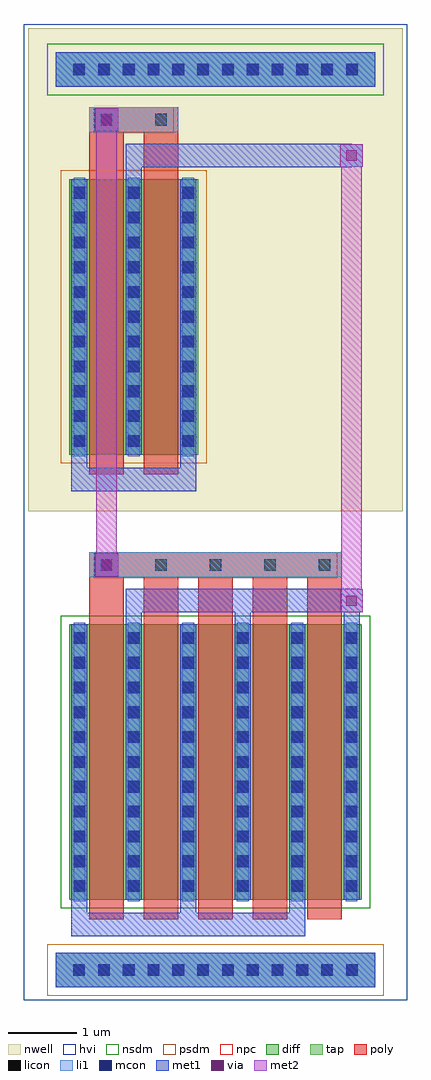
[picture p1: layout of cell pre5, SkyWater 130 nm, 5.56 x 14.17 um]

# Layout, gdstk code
import gdstk
lib = gdstk.Library(unit=1e-6, precision=1e-09)
def R(c, l, rs):  # rectangles x0, y0, x1, y1
    for r in rs: c.add(gdstk.rectangle(r[:2], r[2:], *l))
def A(c, l, x, y, w, h, nx, ny, dx, dy):  # array of equal rectangles
    R(c, l, [(x+i*dx, y+j*dy, x+i*dx+w, y+j*dy+h) for i in range(nx) for j in range(ny)])
def P(c, l, *ps):  # polygons
    for p in ps: c.add(gdstk.Polygon(p, *l))
nwell = (64, 20)
diff = (65, 20)
tap = (65, 44)
poly = (66, 20)
licon = (66, 44)
li1 = (67, 20)
mcon = (67, 44)
met1 = (68, 20)
via = (68, 44)
met2 = (69, 20)
hvi = (75, 20)
nsdm = (93, 44)
psdm = (94, 20)
npc = (95, 20)

pre5 = lib.new_cell('pre5')
R(pre5, nwell, [(-0.4,6.91,5.04,13.92)])
R(pre5, diff, [(0.2,1.27,4.44,5.27), (0.2,7.73,2.07,11.73)])
R(pre5, tap, [(0,0,4.64,0.5), (0,13.07,4.64,13.57)])
A(pre5, poly, 0.49, 0.985, 0.5, 4.57, 5, 1, 0.79, 0)
A(pre5, poly, 0.49, 5.27, 0.5, 0.86, 5, 1, 0.79, 0)
R(pre5, poly, [(0.49,5.95,4.15,6.31), (0.49,7.445,0.99,12.015), (1.28,7.445,1.78,12.015), (0.49,11.73,0.99,12.59), (1.28,11.73,1.78,12.59), (0.49,12.41,1.78,12.77)])
A(pre5, licon, 0.255, 0.165, 0.17, 0.17, 12, 2, 0.36, 13.07)
A(pre5, licon, 0.26, 1.385, 0.17, 0.17, 6, 11, 0.79, 0.36)
A(pre5, licon, 0.655, 6.045, 0.17, 0.17, 5, 1, 0.79, 0)
A(pre5, licon, 0.26, 7.845, 0.17, 0.17, 3, 11, 0.79, 0.36)
R(pre5, licon, [(0.655,12.505,0.825,12.675), (1.445,12.505,1.615,12.675)])
A(pre5, li1, 0.26, 1.25, 0.17, 4.04, 6, 1, 0.79, 0)
A(pre5, li1, 0.26, 7.71, 0.17, 4.04, 3, 1, 0.79, 0)
R(pre5, li1, [(0,0,4.64,0.5), (0.49,5.95,4.15,6.31), (0.49,12.41,1.78,12.77), (0,13.07,4.64,13.57)])
A(pre5, mcon, 0.255, 0.165, 0.17, 0.17, 12, 2, 0.36, 13.07)
A(pre5, mcon, 0.26, 1.385, 0.17, 0.17, 6, 11, 0.79, 0.36)
A(pre5, mcon, 0.26, 7.845, 0.17, 0.17, 3, 11, 0.79, 0.36)
R(pre5, mcon, [(0.655,6.045,0.825,6.215), (0.655,12.505,0.825,12.675)])
A(pre5, met1, 0.23, 0.74, 0.23, 0.53, 3, 1, 1.58, 0)
A(pre5, met1, 0.23, 1.27, 0.23, 4, 6, 1, 0.79, 0)
A(pre5, met1, 1.02, 5.27, 0.23, 0.51, 3, 1, 1.58, 0)
A(pre5, met1, 0.23, 7.73, 0.23, 4, 3, 1, 0.79, 0)
R(pre5, met1, [(0,0,4.64,0.5), (0.23,0.74,3.62,1.08), (1.02,5.44,4.41,5.78), (4.13,5.445,4.46,5.775), (0.57,5.96,0.91,6.3), (0.575,5.965,0.905,6.295), (0.23,7.2,0.46,7.73), (0.23,7.2,2.04,7.54), (1.81,7.2,2.04,7.73), (1.02,11.73,1.25,12.24), (1.02,11.9,1.25,12.24), (1.135,11.9,4.295,12.24), (4.13,11.905,4.46,12.235), (0.57,12.42,0.91,12.76), (0.575,12.425,0.905,12.755), (0,13.07,4.64,13.57)])
P(pre5, met1, [(4.295,5.44),(4.295,5.78),(4.295,5.78),(4.295,5.44)])
R(pre5, via, [(4.22,5.535,4.37,5.685), (0.665,6.055,0.815,6.205), (4.22,11.995,4.37,12.145), (0.665,12.515,0.815,12.665)])
R(pre5, met2, [(4.13,5.445,4.46,5.775), (4.145,5.61,4.445,12.07), (0.575,5.965,0.905,6.295), (0.59,6.13,0.89,12.59), (4.13,11.905,4.46,12.235), (0.575,12.425,0.905,12.755)])
R(pre5, hvi, [(-0.46,-0.185,5.1,13.98)])
R(pre5, nsdm, [(0.075,1.145,4.565,5.395), (-0.125,12.945,4.765,13.695)])
R(pre5, psdm, [(-0.125,-0.125,4.765,0.625), (0.075,7.605,2.195,11.855)])
R(pre5, npc, [(0.555,5.945,4.085,6.315), (0.555,12.405,1.715,12.775)])

lib.write_gds('pre5.gds')
